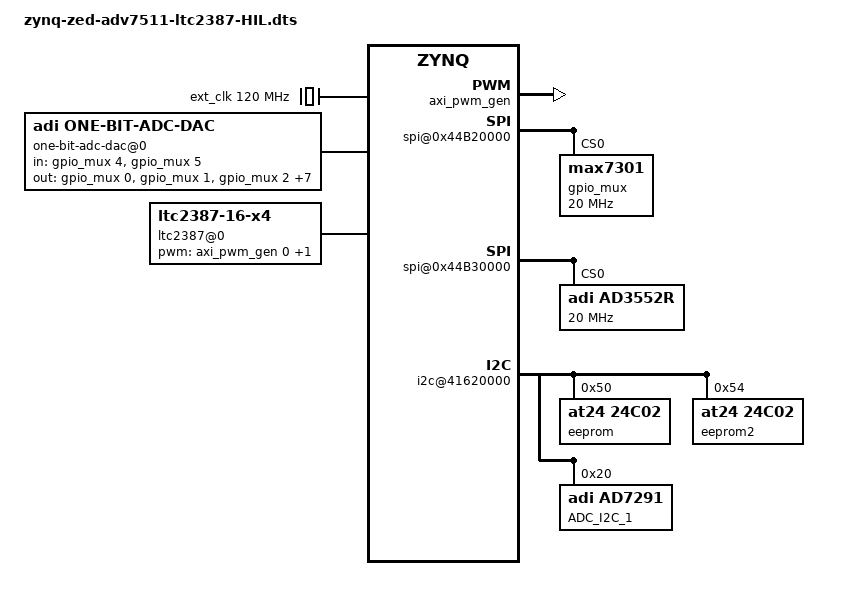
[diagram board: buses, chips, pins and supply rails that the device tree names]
/dts-v1/;

#include "zynq-zed.dtsi"
#include "zynq-zed-adv7511.dtsi"
#include <dt-bindings/interrupt-controller/irq.h>
#include <dt-bindings/gpio/gpio.h>
#include <dt-bindings/pwm/pwm.h>

/ {
	clocks {
		ext_clk: clock@0 {
			#clock-cells = <0>;
			compatible = "fixed-clock";
			clock-frequency = <120000000>;
		};
	};

	one-bit-adc-dac@0 {
		compatible = "adi,one-bit-adc-dac";
		#address-cells = <1>;
		#size-cells = <0>;

		in-gpios =  <&gpio_mux 4 GPIO_ACTIVE_HIGH>,
				<&gpio_mux 5 GPIO_ACTIVE_HIGH>;
		out-gpios = <&gpio_mux 0 GPIO_ACTIVE_HIGH>,
				<&gpio_mux 1 GPIO_ACTIVE_HIGH>,
				<&gpio_mux 2 GPIO_ACTIVE_HIGH>,
				<&gpio_mux 3 GPIO_ACTIVE_HIGH>,
				<&gpio_mux 6 GPIO_ACTIVE_HIGH>,
				<&gpio_mux 7 GPIO_ACTIVE_HIGH>,
				<&gpio_mux 11 GPIO_ACTIVE_HIGH>,
				<&gpio_mux 12 GPIO_ACTIVE_HIGH>,
				<&gpio_mux 13 GPIO_ACTIVE_HIGH>,
				<&gpio_mux 14 GPIO_ACTIVE_HIGH>;

		channel@0 {
			reg = <0>;
			label = "GPIO4_VIO";
		};
		channel@1 {
			reg = <1>;
			label = "GPIO5_VIO";
		};
		channel@2 {
			reg = <2>;
			label = "GPIO0_VIO";
		};
		channel@3 {
			reg = <3>;
			label = "GPIO1_VIO";
		};
		channel@4 {
			reg = <4>;
			label = "GPIO2_VIO";
		};
		channel@5 {
			reg = <5>;
			label = "GPIO3_VIO";
		};
		channel@6 {
			reg = <6>;
			label = "GPIO6_VIO";
		};
		channel@7 {
			reg = <7>;
			label = "GPIO7_VIO";
		};
		channel@8 {
			reg = <8>;
			label = "PAD_ADC0";
		};
		channel@9 {
			reg = <9>;
			label = "PAD_ADC1";
		};
		channel@10 {
			reg = <10>;
			label = "PAD_ADC2";
		};
		channel@11 {
			reg = <11>;
			label = "PAD_ADC3";
		};
	};
};

&fpga_axi {
	axi_pwm_gen: pwm@44B10000 {
		compatible = "adi,axi-pwmgen";
		reg = <0x44B10000 0x1000>;
		label = "ltc2387_if";
		#pwm-cells = <2>;
		clocks = <&ext_clk>;
	};

	ref_clk: clk@44B00000 {
		compatible = "adi,axi-clkgen-2.00.a";
		reg = <0x44B00000 0x10000>;
		#clock-cells = <0>;
		clocks = <&clkc 15>, <&clkc 15>;
		clock-names = "s_axi_aclk", "clkin1";
		clock-output-names = "ref_clk";
	};

	rx_dma: dmac@44A40000 {
		compatible = "adi,axi-dmac-1.00.a";
		reg = <0x44A40000 0x1000>;
		#dma-cells = <1>;
		interrupts = <0 57 IRQ_TYPE_LEVEL_HIGH>;
		clocks = <&clkc 15>;

		adi,channels {
			#size-cells = <0>;
			#address-cells = <1>;

			dma-channel@0 {
				reg = <0>;
				adi,source-bus-width = <64>;
				adi,source-bus-type = <2>;
				adi,destination-bus-width = <64>;
				adi,destination-bus-type = <0>;
			};
		};
	};

	ltc2387@0{
		compatible = "ltc2387-16-x4";
		pwms = <&axi_pwm_gen 0 0
			&axi_pwm_gen 1 0>;
		pwm-names = "cnv", "clk_en";
		clocks = <&ref_clk>;
		dmas = <&rx_dma 0>;
		dma-names = "rx";
		adi,use-two-lanes;
	};

	spi@0x44B20000 {
		#address-cells = <1>;
		#size-cells = <0>;
		reg = <0x44B20000 0x1000>;
		num-cs = <0x1>;
		compatible = "xlnx,xps-spi-2.00.a";
		bits-per-word = <16>;
		fifo-size = <16>;
		clock-names = "ext_spi_clk", "s_axi_aclk";
		clocks = <&clkc 15>, <&clkc 15>;
		interrupt-names = "ip2intc_irpt";
		interrupt-parent = <&intc>;
		interrupts = <0 52 IRQ_TYPE_LEVEL_HIGH>;

		gpio_mux: max7301@0 {
			compatible = "max7301";
			reg = <0>;
			spi-max-frequency = <20000000>;
			#gpio-cells = <2>;
			gpio-controller;
		};
	};

	spi@0x44B30000 {
		#address-cells = <1>;
		#size-cells = <0>;
		reg = <0x44B30000 0x1000>;
		num-cs = <0x1>;
		compatible = "xlnx,xps-spi-2.00.a";
		bits-per-word = <16>;
		fifo-size = <16>;
		clock-names = "ext_spi_clk", "s_axi_aclk";
		clocks = <&clkc 15>, <&clkc 15>;
		interrupt-names = "ip2intc_irpt";
		interrupt-parent = <&intc>;
		interrupts = <0 36 IRQ_TYPE_LEVEL_HIGH>;
		ad3552r@0 {
			compatible = "adi,ad3552r";
			reg = <0>;
			spi-max-frequency = <20000000>;
			#address-cells = <1>;
			#size-cells = <0>;
			channel@0 {
				reg = <0>;
				adi,output-range-microvolt = <0 10000000>;
			};
			channel@1 {
				reg = <1>;
				custom-output-range-config {
					adi,gain-offset = <5>;
					adi,gain-scaling-p-inv-log2 = <1>;
					adi,gain-scaling-n-inv-log2 = <2>;
					adi,rfb-ohms = <1>;
				};
			};
		};
	};

	i2c@41620000 {
		compatible = "xlnx,axi-iic-1.01.b", "xlnx,xps-iic-2.00.a";
		reg = <0x41620000 0x10000>;
		interrupt-parent = <&intc>;
		interrupts = <0 55 IRQ_TYPE_LEVEL_HIGH>;
		clocks = <&clkc 15>;
		clock-names = "pclk";

		#size-cells = <0>;
		#address-cells = <1>;

		eeprom@50 {
			compatible = "at24,24c02";
			reg = <0x50>;
		};
		eeprom2@54 {
			compatible = "at24,24c02";
			reg = <0x54>;
		};
		ad7291_1@20 {
			label = "ADC_I2C_1";
			compatible = "adi,ad7291";
			reg = <0x20>;
		};

	};
};

